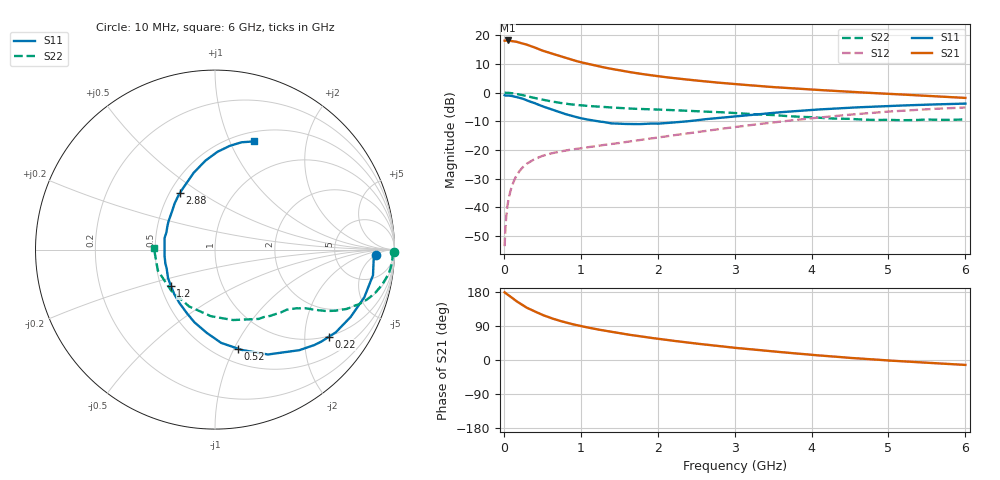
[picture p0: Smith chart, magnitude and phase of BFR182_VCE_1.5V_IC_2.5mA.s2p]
! Infineon Technologies  Discrete & RF Semiconductors
! BFR182
! VCE =  1.5 V,  IC =  2.5 mA
! Common Emitter S-Parameters:  Nov 2015
# GHz  S  MA  R  50
!  f  S11  S21  S12  S22
! GHz  MAG  ANG  MAG  ANG  MAG  ANG  MAG  ANG
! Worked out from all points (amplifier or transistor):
!   210 points, 10 MHz to 6 GHz, reference 50 ohm
!   highest |S21| = 18.2 dB at 50 MHz (marker M1)
!   |S21| within 3 dB of that: start of sweep to 451.3 MHz
!   unconditionally stable (mu >= 1): 1.347 GHz to 3.112 GHz
!   at 185 MHz: K = 0.21, MSG = 22.8 dB, |S12| = -28.1 dB
!   at 1.52 GHz: K = 1.04, MAG = 11.3 dB, |S12| = -17.5 dB
!   at 6 GHz: K = 0.91, MSG = 1.7 dB, |S12| = -5.2 dB
!   S11 on the Smith chart (normalised r, x): 10 MHz: 17, -5; 220 MHz: 0.98, -2.62; 520 MHz: 0.64, -1.03; 1.2 GHz: 0.56, -0.25; 2.88 GHz: 0.56, +0.41; 6 GHz: 0.60, +1.24
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0.01  0.8991 -1.9  8.014 178.7  0.0021 97.6  0.9952 -0.8
0.025  0.8861 -4.4  8.075 176.1  0.0054 85.8  0.9893 -2.0
0.05  0.8918 -9.2  8.087 172.4  0.0113 84.9  0.9898 -4.1
0.095  0.8745 -16.7  7.901 165.9  0.0212 80.7  0.9788 -7.5
0.15  0.8439 -26.4  7.776 156.9  0.0327 75.2  0.9524 -11.7
0.22  0.7985 -37.5  7.295 148.0  0.0455 69.3  0.9147 -16.0
0.3  0.7314 -50.0  6.827 137.8  0.0576 64.4  0.8646 -20.3
0.4  0.6547 -63.2  6.109 128.1  0.069 58.8  0.8039 -24.3
0.52  0.5658 -77.1  5.289 117.6  0.08 54.8  0.7434 -27.3
0.6  0.521 -86.2  4.895 111.4  0.0859 52.7  0.7079 -28.9
0.72  0.4563 -97.5  4.362 103.8  0.093 51.3  0.6643 -30.5
0.8  0.4214 -105.7  4.026 99.1  0.0976 50.4  0.64 -31.4
0.9  0.3879 -113.7  3.665 94.1  0.1023 50.1  0.6159 -32.3
1.02  0.3527 -125.3  3.331 88.7  0.108 50.1  0.5955 -33.3
1.2  0.3177 -140.7  2.934 81.3  0.1169 50.6  0.5709 -35.0
1.6  0.2832 -172.8  2.313 67.4  0.138 52.8  0.5311 -38.7
2.02  0.2881 159.9  1.913 55.6  0.1656 54.7  0.505 -44.1
2.88  0.3703 121.9  1.452 35.0  0.2383 54.4  0.4492 -59.4
3.1  0.3935 115.4  1.372 30.4  0.26 53.2  0.4304 -64.6
4.1  0.5073 94.5  1.107 12.0  0.3665 44.9  0.3633 -97.4
5.1  0.5893 80.8  0.936 -2.5  0.4747 32.2  0.3311 -141.3
6  0.6417 70.0  0.806 -13.0  0.5493 18.4  0.3411 178.1
